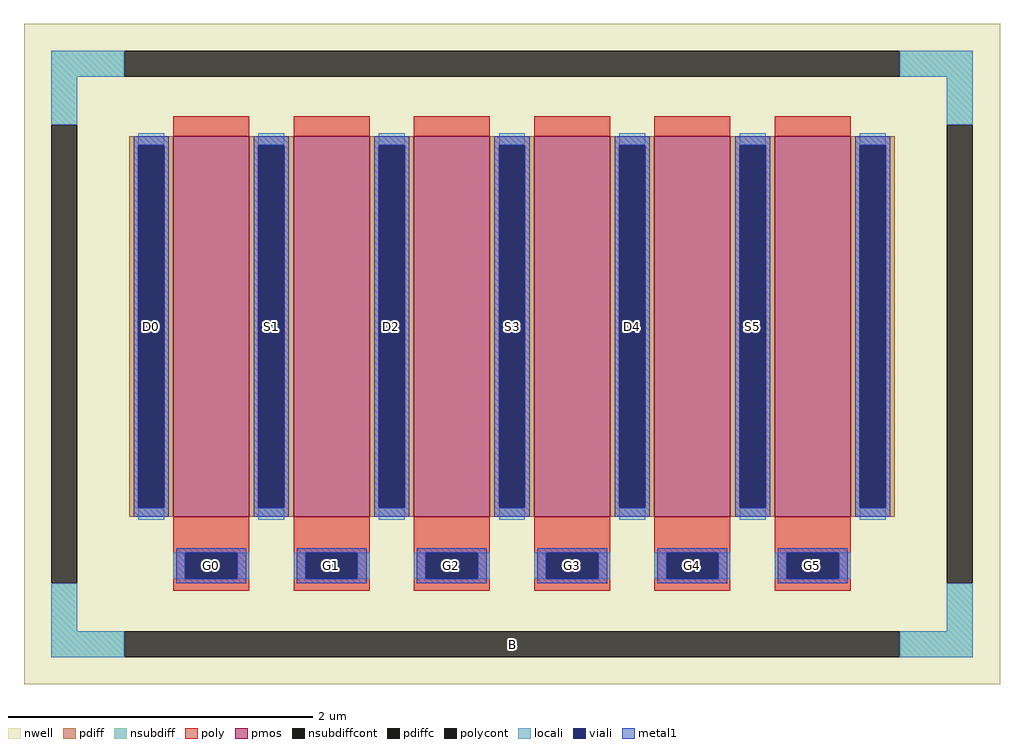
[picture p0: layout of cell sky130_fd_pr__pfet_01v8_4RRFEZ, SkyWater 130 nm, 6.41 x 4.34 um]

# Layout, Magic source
magic
tech sky130A
magscale 1 2
<< nwell >>
rect -641 -434 641 434
<< pmos >>
rect -445 -214 -345 286
rect -287 -214 -187 286
rect -129 -214 -29 286
rect 29 -214 129 286
rect 187 -214 287 286
rect 345 -214 445 286
<< pdiff >>
rect -503 274 -445 286
rect -503 -202 -491 274
rect -457 -202 -445 274
rect -503 -214 -445 -202
rect -345 274 -287 286
rect -345 -202 -333 274
rect -299 -202 -287 274
rect -345 -214 -287 -202
rect -187 274 -129 286
rect -187 -202 -175 274
rect -141 -202 -129 274
rect -187 -214 -129 -202
rect -29 274 29 286
rect -29 -202 -17 274
rect 17 -202 29 274
rect -29 -214 29 -202
rect 129 274 187 286
rect 129 -202 141 274
rect 175 -202 187 274
rect 129 -214 187 -202
rect 287 274 345 286
rect 287 -202 299 274
rect 333 -202 345 274
rect 287 -214 345 -202
rect 445 274 503 286
rect 445 -202 457 274
rect 491 -202 503 274
rect 445 -214 503 -202
<< pdiffc >>
rect -491 -202 -457 274
rect -333 -202 -299 274
rect -175 -202 -141 274
rect -17 -202 17 274
rect 141 -202 175 274
rect 299 -202 333 274
rect 457 -202 491 274
<< nsubdiff >>
rect -605 364 -509 398
rect 509 364 605 398
rect -605 301 -571 364
rect 571 301 605 364
rect -605 -364 -571 -301
rect 571 -364 605 -301
rect -605 -398 -509 -364
rect 509 -398 605 -364
<< nsubdiffcont >>
rect -509 364 509 398
rect -605 -301 -571 301
rect 571 -301 605 301
rect -509 -398 509 -364
<< poly >>
rect -445 286 -345 312
rect -287 286 -187 312
rect -129 286 -29 312
rect 29 286 129 312
rect 187 286 287 312
rect 345 286 445 312
rect -445 -261 -345 -214
rect -445 -295 -429 -261
rect -361 -295 -345 -261
rect -445 -311 -345 -295
rect -287 -261 -187 -214
rect -287 -295 -271 -261
rect -203 -295 -187 -261
rect -287 -311 -187 -295
rect -129 -261 -29 -214
rect -129 -295 -113 -261
rect -45 -295 -29 -261
rect -129 -311 -29 -295
rect 29 -261 129 -214
rect 29 -295 45 -261
rect 113 -295 129 -261
rect 29 -311 129 -295
rect 187 -261 287 -214
rect 187 -295 203 -261
rect 271 -295 287 -261
rect 187 -311 287 -295
rect 345 -261 445 -214
rect 345 -295 361 -261
rect 429 -295 445 -261
rect 345 -311 445 -295
<< polycont >>
rect -429 -295 -361 -261
rect -271 -295 -203 -261
rect -113 -295 -45 -261
rect 45 -295 113 -261
rect 203 -295 271 -261
rect 361 -295 429 -261
<< locali >>
rect -605 364 -509 398
rect 509 364 605 398
rect -605 301 -571 364
rect 571 301 605 364
rect -491 274 -457 290
rect -491 -218 -457 -202
rect -333 274 -299 290
rect -333 -218 -299 -202
rect -175 274 -141 290
rect -175 -218 -141 -202
rect -17 274 17 290
rect -17 -218 17 -202
rect 141 274 175 290
rect 141 -218 175 -202
rect 299 274 333 290
rect 299 -218 333 -202
rect 457 274 491 290
rect 457 -218 491 -202
rect -445 -295 -429 -261
rect -361 -295 -345 -261
rect -287 -295 -271 -261
rect -203 -295 -187 -261
rect -129 -295 -113 -261
rect -45 -295 -29 -261
rect 29 -295 45 -261
rect 113 -295 129 -261
rect 187 -295 203 -261
rect 271 -295 287 -261
rect 345 -295 361 -261
rect 429 -295 445 -261
rect -605 -364 -571 -301
rect 571 -364 605 -301
rect -605 -398 -509 -364
rect 509 -398 605 -364
<< viali >>
rect -491 -202 -457 274
rect -333 -202 -299 274
rect -175 -202 -141 274
rect -17 -202 17 274
rect 141 -202 175 274
rect 299 -202 333 274
rect 457 -202 491 274
rect -429 -295 -361 -261
rect -271 -295 -203 -261
rect -113 -295 -45 -261
rect 45 -295 113 -261
rect 203 -295 271 -261
rect 361 -295 429 -261
<< metal1 >>
rect -497 274 -451 286
rect -497 -202 -491 274
rect -457 -202 -451 274
rect -497 -214 -451 -202
rect -339 274 -293 286
rect -339 -202 -333 274
rect -299 -202 -293 274
rect -339 -214 -293 -202
rect -181 274 -135 286
rect -181 -202 -175 274
rect -141 -202 -135 274
rect -181 -214 -135 -202
rect -23 274 23 286
rect -23 -202 -17 274
rect 17 -202 23 274
rect -23 -214 23 -202
rect 135 274 181 286
rect 135 -202 141 274
rect 175 -202 181 274
rect 135 -214 181 -202
rect 293 274 339 286
rect 293 -202 299 274
rect 333 -202 339 274
rect 293 -214 339 -202
rect 451 274 497 286
rect 451 -202 457 274
rect 491 -202 497 274
rect 451 -214 497 -202
rect -441 -261 -349 -255
rect -441 -295 -429 -261
rect -361 -295 -349 -261
rect -441 -301 -349 -295
rect -283 -261 -191 -255
rect -283 -295 -271 -261
rect -203 -295 -191 -261
rect -283 -301 -191 -295
rect -125 -261 -33 -255
rect -125 -295 -113 -261
rect -45 -295 -33 -261
rect -125 -301 -33 -295
rect 33 -261 125 -255
rect 33 -295 45 -261
rect 113 -295 125 -261
rect 33 -301 125 -295
rect 191 -261 283 -255
rect 191 -295 203 -261
rect 271 -295 283 -261
rect 191 -301 283 -295
rect 349 -261 441 -255
rect 349 -295 361 -261
rect 429 -295 441 -261
rect 349 -301 441 -295
<< labels >>
rlabel nsubdiffcont 0 -381 0 -381 0 B
port 1 nsew
rlabel pdiffc -474 36 -474 36 0 D0
port 2 nsew
rlabel polycont -395 -278 -395 -278 0 G0
port 3 nsew
rlabel pdiffc -316 36 -316 36 0 S1
port 4 nsew
rlabel polycont -237 -278 -237 -278 0 G1
port 5 nsew
rlabel pdiffc -158 36 -158 36 0 D2
port 6 nsew
rlabel polycont -79 -278 -79 -278 0 G2
port 7 nsew
rlabel pdiffc 0 36 0 36 0 S3
port 8 nsew
rlabel polycont 79 -278 79 -278 0 G3
port 9 nsew
rlabel pdiffc 158 36 158 36 0 D4
port 10 nsew
rlabel polycont 237 -278 237 -278 0 G4
port 11 nsew
rlabel pdiffc 316 36 316 36 0 S5
port 12 nsew
rlabel polycont 395 -278 395 -278 0 G5
port 13 nsew
<< properties >>
string FIXED_BBOX -588 -381 588 381
string gencell sky130_fd_pr__pfet_01v8
string library sky130
string parameters w 2.5 l 0.5 m 1 nf 6 diffcov 100 polycov 100 guard 1 glc 1 grc 1 gtc 1 gbc 1 tbcov 100 rlcov 100 topc 0 botc 1 poverlap 0 doverlap 1 lmin 0.15 wmin 0.42 class mosfet compatible {sky130_fd_pr__pfet_01v8  sky130_fd_pr__pfet_01v8_lvt sky130_fd_pr__pfet_01v8_hvt  sky130_fd_pr__pfet_g5v0d10v5} full_metal 1 conn_gates 0 viasrc 100 viadrn 100 viagate 100 viagb 0 viagr 0 viagl 0 viagt 0 doports 1
<< end >>
